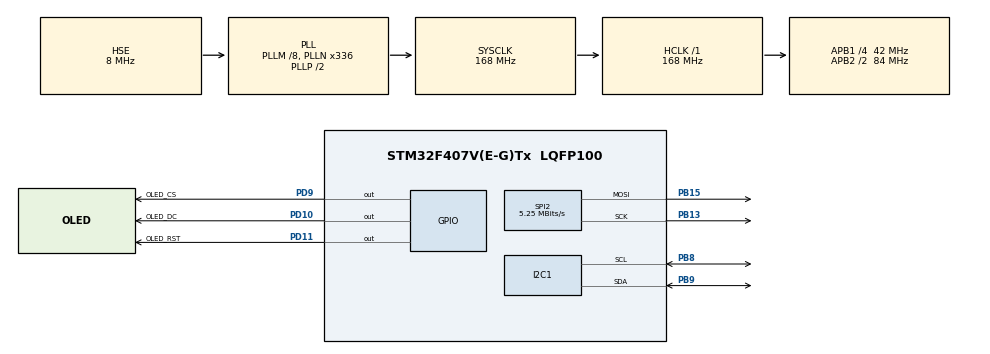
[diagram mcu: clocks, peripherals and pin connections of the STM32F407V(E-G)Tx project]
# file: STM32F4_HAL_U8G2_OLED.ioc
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I2C1.I2C_Mode=I2C_Standard
Mcu.Family=STM32F4
Mcu.Name=STM32F407V(E-G)Tx
Mcu.Package=LQFP100
NVIC.PriorityGroup=NVIC_PRIORITYGROUP_0
PB13.Mode=TX_Only_Simplex_Unidirect_Master
PB13.Signal=SPI2_SCK
PB15.Mode=TX_Only_Simplex_Unidirect_Master
PB15.Signal=SPI2_MOSI
PB8.Mode=I2C
PB8.Signal=I2C1_SCL
PB9.Mode=I2C
PB9.Signal=I2C1_SDA
PD10.GPIO_Label=OLED_DC
PD10.Signal=GPIO_Output
PD11.GPIO_Label=OLED_RST
PD11.Signal=GPIO_Output
PD9.GPIO_Label=OLED_CS
PD9.Signal=GPIO_Output
PH0-OSC_IN.Mode=HSE-External-Oscillator
PH0-OSC_IN.Signal=RCC_OSC_IN
PH1-OSC_OUT.Mode=HSE-External-Oscillator
PH1-OSC_OUT.Signal=RCC_OSC_OUT
ProjectManager.HeapSize=0x200
ProjectManager.StackSize=0x400
ProjectManager.TargetToolchain=TrueSTUDIO
RCC.48MHZClocksFreq_Value=48000000
RCC.AHBFreq_Value=168000000
RCC.APB1CLKDivider=RCC_HCLK_DIV4
RCC.APB1Freq_Value=42000000
RCC.APB1TimFreq_Value=84000000
RCC.APB2CLKDivider=RCC_HCLK_DIV2
RCC.APB2Freq_Value=84000000
RCC.APB2TimFreq_Value=168000000
RCC.CortexFreq_Value=168000000
RCC.HCLKFreq_Value=168000000
RCC.HSE_VALUE=8000000
RCC.HSI_VALUE=16000000
RCC.LSE_VALUE=32768
RCC.PLLM=8
RCC.PLLN=336
RCC.PLLQ=7
RCC.PLLSourceVirtual=RCC_PLLSOURCE_HSE
RCC.SYSCLKFreq_VALUE=168000000
RCC.SYSCLKSource=RCC_SYSCLKSOURCE_PLLCLK
RCC.VCOOutputFreq_Value=336000000
SPI2.BaudRatePrescaler=SPI_BAUDRATEPRESCALER_8
SPI2.CalculateBaudRate=5.25 MBits/s
SPI2.Direction=SPI_DIRECTION_2LINES
SPI2.Mode=SPI_MODE_MASTER
SPI2.VirtualType=VM_MASTER
board=STM32F4DISCOVERY

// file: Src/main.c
/**
 ******************************************************************************
 * @file           : main.c
 * @brief          : Main program body
 ******************************************************************************
 ** This notice applies to any and all portions of this file
 * that are not between comment pairs USER CODE BEGIN and
 * USER CODE END. Other portions of this file, whether
 * inserted by the user or by software development tools
 * are owned by their respective copyright owners.
 *
 * COPYRIGHT(c) 2019 STMicroelectronics
 *
 * Redistribution and use in source and binary forms, with or without modification,
 * are permitted provided that the following conditions are met:
 *   1. Redistributions of source code must retain the above copyright notice,
 *      this list of conditions and the following disclaimer.
 *   2. Redistributions in binary form must reproduce the above copyright notice,
 *      this list of conditions and the following disclaimer in the documentation
 *      and/or other materials provided with the distribution.
 *   3. Neither the name of STMicroelectronics nor the names of its contributors
 *      may be used to endorse or promote products derived from this software
 *      without specific prior written permission.
 *
 * THIS SOFTWARE IS PROVIDED BY THE COPYRIGHT HOLDERS AND CONTRIBUTORS "AS IS"
 * AND ANY EXPRESS OR IMPLIED WARRANTIES, INCLUDING, BUT NOT LIMITED TO, THE
 * IMPLIED WARRANTIES OF MERCHANTABILITY AND FITNESS FOR A PARTICULAR PURPOSE ARE
 * DISCLAIMED. IN NO EVENT SHALL THE COPYRIGHT HOLDER OR CONTRIBUTORS BE LIABLE
 * FOR ANY DIRECT, INDIRECT, INCIDENTAL, SPECIAL, EXEMPLARY, OR CONSEQUENTIAL
 * DAMAGES (INCLUDING, BUT NOT LIMITED TO, PROCUREMENT OF SUBSTITUTE GOODS OR
 * SERVICES; LOSS OF USE, DATA, OR PROFITS; OR BUSINESS INTERRUPTION) HOWEVER
 * CAUSED AND ON ANY THEORY OF LIABILITY, WHETHER IN CONTRACT, STRICT LIABILITY,
 * OR TORT (INCLUDING NEGLIGENCE OR OTHERWISE) ARISING IN ANY WAY OUT OF THE USE
 * OF THIS SOFTWARE, EVEN IF ADVISED OF THE POSSIBILITY OF SUCH DAMAGE.
 *
 ******************************************************************************
 */
#include "main.h"
#include "stm32f4xx_hal.h"

/* USER CODE BEGIN Includes */
#include "u8g2/u8g2.h"
/* USER CODE END Includes */

I2C_HandleTypeDef hi2c1;
SPI_HandleTypeDef hspi2;

/* USER CODE BEGIN PV */
/* Private variables ---------------------------------------------------------*/

/* USER CODE END PV */

void SystemClock_Config(void);
static void MX_GPIO_Init(void);
static void MX_SPI2_Init(void);
static void MX_I2C1_Init(void);

/* USER CODE BEGIN PFP */
/* Private function prototypes -----------------------------------------------*/

/* USER CODE END PFP */

/* USER CODE BEGIN 0 */
#define bitmap_width 64
#define bitmap_height 16
static unsigned char bitmap[] = {
		0x00, 0x00, 0x00, 0x00, 0x00, 0x00, 0x00, 0x00, 0x00, 0x00, 0x00, 0x00, 0x00, 0x00, 0x00, 0x00,
		0x00, 0x00, 0x00, 0x00, 0x00, 0x00, 0x00, 0x00, 0x00, 0x00, 0x00, 0x00, 0x00, 0x00, 0x00, 0x00,
		0x00, 0x00, 0x00, 0x00, 0x00, 0x00, 0x00, 0x00, 0x00, 0x00, 0x00, 0x00, 0x00, 0x00, 0x00, 0x00,
		0x00, 0x00, 0x00, 0x00, 0x00, 0x00, 0x00, 0x00, 0x00, 0x00, 0x00, 0x00, 0x00, 0x00, 0x00, 0x00,
		0x00, 0x00, 0x00, 0x00, 0x00, 0x00, 0x00, 0x00, 0x40, 0x00, 0x00, 0x00, 0x00, 0x00, 0x01, 0x00,
		0x00, 0x00, 0x00, 0x00, 0x20, 0x00, 0x00, 0x00, 0x00, 0x00, 0x00, 0x00, 0x00, 0x00, 0x00, 0x00,
		0x00, 0x00, 0x02, 0x00, 0x00, 0x00, 0x00, 0x00, 0x00, 0x20, 0x00, 0x00, 0x00, 0x04, 0x00, 0x00,
		0x10, 0x00, 0x00, 0x00, 0x00, 0x04, 0x00, 0x00, 0x00, 0x00, 0x00, 0x00, 0x00, 0x00, 0x00, 0x00,
		0x00, 0x00, 0x00, 0x00, 0x00, 0x00, 0x00, 0x00, 0x00, 0x00, 0x00, 0x40, 0x00, 0x00, 0x00, 0x00,
		0x00, 0x00, 0x00, 0x00, 0x00, 0x00, 0x00, 0x00, 0x00, 0x00, 0x00, 0x00, 0x00, 0x00, 0x00, 0x00,
		0x00, 0x00, 0x00, 0x00, 0x00, 0x00, 0x00, 0x04, 0x00, 0x00, 0x00, 0x00, 0x00, 0x00, 0x00, 0x00,
		0x00, 0x00, 0x00, 0x00, 0x00, 0x00, 0x00, 0x00, 0x00, 0x00, 0x00, 0x00, 0x00, 0x00, 0x00, 0x00,
		0x00, 0x00, 0x00, 0x00, 0x00, 0x00, 0x00, 0x00, 0x00, 0x00, 0x00, 0x00, 0x00, 0x00, 0x00, 0x00,
		0x00, 0x01, 0x00, 0x00, 0x00, 0x00, 0x00, 0x00, 0x00, 0x00, 0x00, 0x00, 0x00, 0x00, 0x00, 0x00,
		0x00, 0x00, 0x00, 0x00, 0x00, 0x00, 0x00, 0x00, 0x00, 0x00, 0x00, 0x00, 0x00, 0x00, 0x00, 0x08,
		0x00, 0x00, 0x00, 0x00, 0x00, 0x00, 0x00, 0x00, 0x00, 0x00, 0x00, 0x00, 0x00, 0x00, 0x00, 0x00,
		0x00, 0x00, 0x00, 0x00, 0x00, 0x00, 0x00, 0x00, 0x00, 0x00, 0x00, 0x10, 0x00, 0x00, 0x20, 0x00,
		0x00, 0x00, 0x00, 0x00, 0x07, 0xE0, 0xFF, 0x0F, 0x80, 0xFC, 0x3F, 0x00, 0x00, 0x00, 0x00, 0x00,
		0x00, 0x00, 0x00, 0x00, 0x0F, 0xF8, 0xFF, 0x8F, 0x83, 0xFE, 0x3F, 0x00, 0x00, 0x00, 0x00, 0x00,
		0x00, 0x00, 0x00, 0x00, 0x0E, 0x38, 0xE3, 0x8D, 0x83, 0x8E, 0x38, 0x00, 0x00, 0x00, 0x00, 0x00,
		0x00, 0x00, 0x10, 0x00, 0x0F, 0x38, 0xE3, 0x8D, 0x83, 0x8E, 0x38, 0x00, 0x00, 0x00, 0x00, 0x00,
		0x00, 0x00, 0x00, 0x00, 0x07, 0xC0, 0xE3, 0x9D, 0xC3, 0x80, 0x3F, 0x00, 0x00, 0x00, 0x00, 0x00,
		0x00, 0x00, 0x00, 0x00, 0x03, 0xF0, 0xFF, 0x9D, 0xC3, 0x80, 0x3F, 0x00, 0x00, 0x00, 0x00, 0x00,
		0x00, 0x00, 0x00, 0x00, 0x00, 0x7C, 0xFF, 0x18, 0xC3, 0x8E, 0x38, 0x00, 0x00, 0x80, 0x00, 0x00,
		0x00, 0x00, 0x00, 0x02, 0x0E, 0x1C, 0xE0, 0x1F, 0xC3, 0x8E, 0x38, 0x00, 0x00, 0x00, 0x00, 0x00,
		0x00, 0x00, 0x00, 0x00, 0x0E, 0x1C, 0xE0, 0x1F, 0xC3, 0x8E, 0x38, 0x00, 0x00, 0x00, 0x00, 0x00,
		0x00, 0x00, 0x00, 0x00, 0x0F, 0xFC, 0xE0, 0x38, 0xE3, 0xFC, 0x3F, 0x84, 0x00, 0x00, 0x00, 0x00,
		0x00, 0x00, 0x00, 0x00, 0x03, 0xF0, 0xE0, 0x38, 0xE0, 0xF8, 0x3F, 0x80, 0x00, 0x00, 0x00, 0x00,
		0x01, 0x00, 0x00, 0x00, 0x00, 0x00, 0x00, 0x00, 0x00, 0x00, 0x00, 0x00, 0x00, 0x00, 0x00, 0x00,
		0x00, 0x00, 0x00, 0x00, 0x00, 0x00, 0x00, 0x00, 0x00, 0x00, 0x00, 0x00, 0x00, 0x00, 0x00, 0x00,
		0x00, 0x00, 0x00, 0x00, 0x00, 0x00, 0x00, 0x00, 0x00, 0x00, 0x00, 0x00, 0x00, 0x00, 0x00, 0x00,
		0x00, 0x00, 0x00, 0x00, 0x00, 0x00, 0x00, 0x00, 0x00, 0x00, 0x00, 0x00, 0x00, 0x00, 0x00, 0x00,
		0x00, 0x00, 0x00, 0x00, 0x00, 0x00, 0x00, 0x00, 0x00, 0x00, 0x00, 0x00, 0x00, 0x00, 0x80, 0x00,
		0x00, 0x00, 0x03, 0x87, 0x39, 0xC7, 0x1F, 0x07, 0xF8, 0x7E, 0x3F, 0x83, 0xF0, 0x00, 0x00, 0x00,
		0x00, 0x00, 0x03, 0x87, 0x39, 0xC7, 0x1F, 0x07, 0xFC, 0x7E, 0x3F, 0xC7, 0xFC, 0x00, 0x00, 0x00,
		0x00, 0x00, 0x03, 0x87, 0xB9, 0xC7, 0x1B, 0x07, 0x1C, 0x70, 0x39, 0xC7, 0x1C, 0x00, 0x00, 0x00,
		0x00, 0x08, 0x03, 0x87, 0xB8, 0xEE, 0x1B, 0x07, 0x1C, 0x70, 0x39, 0xC7, 0x9C, 0x00, 0x00, 0x00,
		0x00, 0x00, 0x03, 0x87, 0xB8, 0xEE, 0x3B, 0x87, 0x1C, 0x7E, 0x3F, 0xC3, 0xE0, 0x00, 0x00, 0x00,
		0x00, 0x00, 0x03, 0x87, 0xF8, 0xEE, 0x3B, 0x87, 0x1C, 0x7E, 0x3F, 0x81, 0xF8, 0x00, 0x00, 0x00,
		0x00, 0x00, 0x03, 0x87, 0x78, 0xEE, 0x31, 0x87, 0x1C, 0x70, 0x39, 0xC0, 0x3E, 0x00, 0x00, 0x00,
		0x00, 0x00, 0x03, 0x87, 0x78, 0xEE, 0x3F, 0x87, 0x1C, 0x70, 0x39, 0xC7, 0x0E, 0x00, 0x00, 0x08,
		0x08, 0x00, 0x03, 0x87, 0x78, 0xEE, 0x3F, 0x87, 0x1C, 0x70, 0x39, 0xC7, 0x0E, 0x00, 0x00, 0x00,
		0x00, 0x00, 0x03, 0x87, 0x38, 0x7C, 0x71, 0xC7, 0xFC, 0x7F, 0x39, 0xC7, 0xFE, 0x00, 0x00, 0x00,
		0x00, 0x00, 0x03, 0x87, 0x38, 0x7C, 0x71, 0xC7, 0xF8, 0x7F, 0x39, 0xC1, 0xF8, 0x00, 0x00, 0x00,
		0x00, 0x00, 0x00, 0x00, 0x00, 0x00, 0x00, 0x00, 0x00, 0x00, 0x00, 0x00, 0x00, 0x00, 0x00, 0x00,
		0x00, 0x00, 0x00, 0x00, 0x00, 0x00, 0x00, 0x00, 0x00, 0x00, 0x00, 0x00, 0x00, 0x00, 0x00, 0x00,
		0x00, 0x00, 0x00, 0x00, 0x00, 0x00, 0x00, 0x00, 0x00, 0x00, 0x00, 0x00, 0x00, 0x00, 0x00, 0x00,
		0x00, 0x00, 0x00, 0x00, 0x00, 0x00, 0x00, 0x00, 0x00, 0x00, 0x00, 0x00, 0x00, 0x00, 0x00, 0x00,
		0x00, 0x00, 0x00, 0xC0, 0x00, 0x00, 0x00, 0x00, 0x00, 0x00, 0x06, 0x00, 0x00, 0x00, 0x01, 0x00,
		0x00, 0x00, 0x01, 0xE0, 0x02, 0x08, 0x00, 0x00, 0x08, 0x20, 0x0F, 0x00, 0x00, 0x10, 0x00, 0x00,
		0x00, 0x00, 0x03, 0xF0, 0x01, 0x10, 0x00, 0xE0, 0x04, 0x40, 0x1F, 0x80, 0x38, 0x00, 0x00, 0x00,
		0x00, 0x80, 0x06, 0xD8, 0x03, 0xF8, 0x01, 0xF0, 0x0F, 0xE0, 0x36, 0xC0, 0x7C, 0x00, 0x00, 0x00,
		0x00, 0x00, 0x07, 0xF8, 0x07, 0xFC, 0x02, 0x48, 0x1F, 0xF0, 0x3F, 0xC0, 0x92, 0x00, 0x00, 0x00,
		0x00, 0x00, 0x07, 0xF8, 0x0E, 0xEE, 0x03, 0xF8, 0x3B, 0xB8, 0x3F, 0xC0, 0xFE, 0x00, 0x00, 0x00,
		0x00, 0x00, 0x01, 0x20, 0x0B, 0xFA, 0x01, 0x50, 0x2F, 0xE8, 0x09, 0x00, 0x54, 0x00, 0x00, 0x00,
		0x00, 0x00, 0x02, 0xD0, 0x09, 0x12, 0x02, 0xA8, 0x24, 0x48, 0x16, 0x80, 0xAA, 0x00, 0x00, 0x00,
		0x00, 0x00, 0x05, 0x28, 0x03, 0x18, 0x00, 0x00, 0x0C, 0x60, 0x29, 0x40, 0x00, 0x00, 0x00, 0x00,
		0x00, 0x00, 0x00, 0x00, 0x00, 0x00, 0x00, 0x00, 0x00, 0x00, 0x00, 0x00, 0x00, 0x00, 0x00, 0x00,
		0x00, 0x00, 0x00, 0x00, 0x00, 0x00, 0x00, 0x00, 0x00, 0x00, 0x00, 0x00, 0x00, 0x00, 0x00, 0x00,
		0x00, 0x04, 0x00, 0x00, 0x00, 0x00, 0x00, 0x00, 0x00, 0x00, 0x00, 0x00, 0x00, 0x00, 0x00, 0x00,
		0x00, 0x00, 0x00, 0x00, 0x00, 0x00, 0x00, 0x00, 0x00, 0x00, 0x00, 0x00, 0x00, 0x00, 0x00, 0x00,
		0x00, 0x00, 0x00, 0x00, 0x00, 0x80, 0x00, 0x00, 0x00, 0x00, 0x00, 0x00, 0x00, 0x00, 0x40, 0x00,
		0x00, 0x00, 0x00, 0x00, 0x00, 0x00, 0x00, 0x00, 0x00, 0x00, 0x00, 0x00, 0x00, 0x00, 0x00, 0x00,
		0x00, 0x00, 0x00, 0x00, 0x00, 0x00, 0x00, 0x00, 0x00, 0x00, 0x00, 0x00, 0x00, 0x00, 0x00, 0x00
};

extern uint8_t u8x8_stm32_gpio_and_delay(u8x8_t *u8x8, uint8_t msg, uint8_t arg_int, void *arg_ptr);
extern uint8_t u8x8_byte_stm32_hw_spi(u8x8_t *u8x8, uint8_t msg, uint8_t arg_int, void *arg_ptr);
extern uint8_t u8x8_byte_stm32_hw_i2c(u8x8_t *u8x8, uint8_t msg, uint8_t arg_int, void *arg_ptr);

static u8g2_t u8g2;
/* USER CODE END 0 */

int main(void)
{

	/* MCU Configuration----------------------------------------------------------*/

	/* Reset of all peripherals, Initializes the Flash interface and the Systick. */
	HAL_Init();

	/* Configure the system clock */
	SystemClock_Config();

	/* Initialize all configured peripherals */
	MX_GPIO_Init();
	MX_SPI2_Init();
	MX_I2C1_Init();
	/* USER CODE BEGIN 2 */

	/* SPI Interface */
	u8g2_Setup_ssd1306_128x64_noname_f(&u8g2, U8G2_R0, u8x8_byte_stm32_hw_spi, u8x8_stm32_gpio_and_delay);

	/* I2C Interface */
	//u8g2_Setup_ssd1306_i2c_128x64_noname_f(&u8g2, U8G2_R0, u8x8_byte_stm32_hw_i2c, u8x8_stm32_gpio_and_delay);

	/* Initialize Display */
	u8g2_InitDisplay(&u8g2);
	u8g2_SetPowerSave(&u8g2, 0);

	/* USER CODE END 2 */

	/* Infinite loop */
	while (1)
	{

		/* USER CODE BEGIN 3 */
		u8g2_FirstPage(&u8g2);
		do
		{
			u8g2_ClearBuffer(&u8g2);
			u8g2_SetDrawColor(&u8g2,1);
			u8g2_SetBitmapMode(&u8g2,1);
			u8g2_DrawBitmap(&u8g2, 0, 0, bitmap_height, bitmap_width,  bitmap);

		} while (u8g2_NextPage(&u8g2));

	}
	/* USER CODE END 3 */
}

void SystemClock_Config(void)
{

	RCC_OscInitTypeDef RCC_OscInitStruct;
	RCC_ClkInitTypeDef RCC_ClkInitStruct;

	/**Configure the main internal regulator output voltage
	 */
	__HAL_RCC_PWR_CLK_ENABLE();

	__HAL_PWR_VOLTAGESCALING_CONFIG(PWR_REGULATOR_VOLTAGE_SCALE1);

	/**Initializes the CPU, AHB and APB busses clocks
	 */
	RCC_OscInitStruct.OscillatorType = RCC_OSCILLATORTYPE_HSE;
	RCC_OscInitStruct.HSEState = RCC_HSE_ON;
	RCC_OscInitStruct.PLL.PLLState = RCC_PLL_ON;
	RCC_OscInitStruct.PLL.PLLSource = RCC_PLLSOURCE_HSE;
	RCC_OscInitStruct.PLL.PLLM = 8;
	RCC_OscInitStruct.PLL.PLLN = 336;
	RCC_OscInitStruct.PLL.PLLP = RCC_PLLP_DIV2;
	RCC_OscInitStruct.PLL.PLLQ = 7;
	if (HAL_RCC_OscConfig(&RCC_OscInitStruct) != HAL_OK)
	{
		_Error_Handler(__FILE__, __LINE__);
	}

	/**Initializes the CPU, AHB and APB busses clocks
	 */
	RCC_ClkInitStruct.ClockType = RCC_CLOCKTYPE_HCLK|RCC_CLOCKTYPE_SYSCLK
			|RCC_CLOCKTYPE_PCLK1|RCC_CLOCKTYPE_PCLK2;
	RCC_ClkInitStruct.SYSCLKSource = RCC_SYSCLKSOURCE_PLLCLK;
	RCC_ClkInitStruct.AHBCLKDivider = RCC_SYSCLK_DIV1;
	RCC_ClkInitStruct.APB1CLKDivider = RCC_HCLK_DIV4;
	RCC_ClkInitStruct.APB2CLKDivider = RCC_HCLK_DIV2;

	if (HAL_RCC_ClockConfig(&RCC_ClkInitStruct, FLASH_LATENCY_5) != HAL_OK)
	{
		_Error_Handler(__FILE__, __LINE__);
	}

	/**Configure the Systick interrupt time
	 */
	HAL_SYSTICK_Config(HAL_RCC_GetHCLKFreq()/1000);

	/**Configure the Systick
	 */
	HAL_SYSTICK_CLKSourceConfig(SYSTICK_CLKSOURCE_HCLK);

	/* SysTick_IRQn interrupt configuration */
	HAL_NVIC_SetPriority(SysTick_IRQn, 0, 0);
}

/* I2C1 init function */
static void MX_I2C1_Init(void)
{

	hi2c1.Instance = I2C1;
	hi2c1.Init.ClockSpeed = 100000;
	hi2c1.Init.DutyCycle = I2C_DUTYCYCLE_2;
	hi2c1.Init.OwnAddress1 = 0;
	hi2c1.Init.AddressingMode = I2C_ADDRESSINGMODE_7BIT;
	hi2c1.Init.DualAddressMode = I2C_DUALADDRESS_DISABLE;
	hi2c1.Init.OwnAddress2 = 0;
	hi2c1.Init.GeneralCallMode = I2C_GENERALCALL_DISABLE;
	hi2c1.Init.NoStretchMode = I2C_NOSTRETCH_DISABLE;
	if (HAL_I2C_Init(&hi2c1) != HAL_OK)
	{
		_Error_Handler(__FILE__, __LINE__);
	}

}

/* SPI2 init function */
static void MX_SPI2_Init(void)
{

	/* SPI2 parameter configuration*/
	hspi2.Instance = SPI2;
	hspi2.Init.Mode = SPI_MODE_MASTER;
	hspi2.Init.Direction = SPI_DIRECTION_2LINES;
	hspi2.Init.DataSize = SPI_DATASIZE_8BIT;
	hspi2.Init.CLKPolarity = SPI_POLARITY_LOW;
	hspi2.Init.CLKPhase = SPI_PHASE_1EDGE;
	hspi2.Init.NSS = SPI_NSS_SOFT;
	hspi2.Init.BaudRatePrescaler = SPI_BAUDRATEPRESCALER_8;
	hspi2.Init.FirstBit = SPI_FIRSTBIT_MSB;
	hspi2.Init.TIMode = SPI_TIMODE_DISABLE;
	hspi2.Init.CRCCalculation = SPI_CRCCALCULATION_DISABLE;
	hspi2.Init.CRCPolynomial = 10;
	if (HAL_SPI_Init(&hspi2) != HAL_OK)
	{
		_Error_Handler(__FILE__, __LINE__);
	}

}

/** Configure pins as
 * Analog
 * Input
 * Output
 * EVENT_OUT
 * EXTI
 */
static void MX_GPIO_Init(void)
{

	GPIO_InitTypeDef GPIO_InitStruct;

	/* GPIO Ports Clock Enable */
	__HAL_RCC_GPIOH_CLK_ENABLE();
	__HAL_RCC_GPIOB_CLK_ENABLE();
	__HAL_RCC_GPIOD_CLK_ENABLE();

	/*Configure GPIO pin Output Level */
	HAL_GPIO_WritePin(GPIOD, OLED_CS_Pin|OLED_DC_Pin|OLED_RST_Pin, GPIO_PIN_RESET);

	/*Configure GPIO pins : OLED_CS_Pin OLED_DC_Pin OLED_RST_Pin */
	GPIO_InitStruct.Pin = OLED_CS_Pin|OLED_DC_Pin|OLED_RST_Pin;
	GPIO_InitStruct.Mode = GPIO_MODE_OUTPUT_PP;
	GPIO_InitStruct.Pull = GPIO_NOPULL;
	GPIO_InitStruct.Speed = GPIO_SPEED_FREQ_LOW;
	HAL_GPIO_Init(GPIOD, &GPIO_InitStruct);

}

void _Error_Handler(char *file, int line)
{
	while(1)
	{
	}
}

/************************ (C) COPYRIGHT STMicroelectronics *****END OF FILE****/
